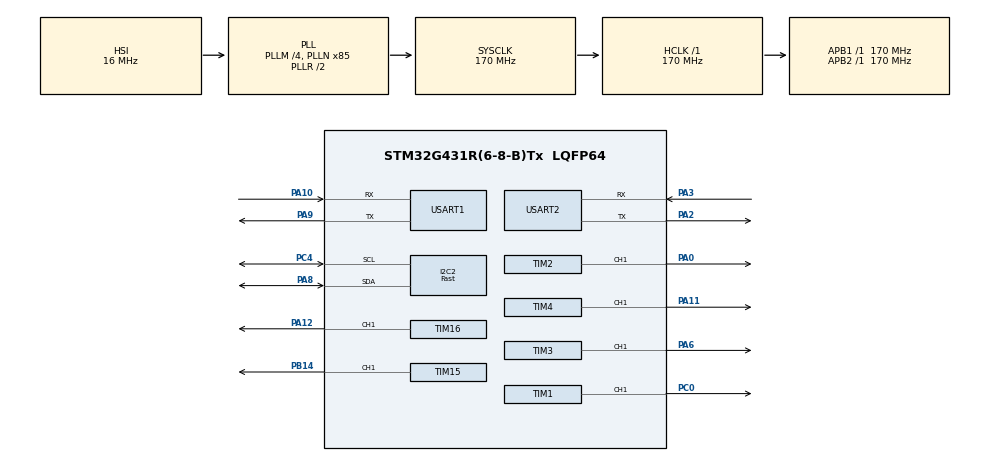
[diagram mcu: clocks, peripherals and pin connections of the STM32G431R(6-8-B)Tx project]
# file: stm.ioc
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FREERTOS.Tasks01=defaultTask,24,128,StartDefaultTask,Default,NULL,Dynamic,NULL,NULL
FREERTOS.configTOTAL_HEAP_SIZE=8192
I2C2.I2C_Speed_Mode=I2C_Fast
I2C2.Timing=0x40621236
Mcu.Family=STM32G4
Mcu.Name=STM32G431R(6-8-B)Tx
Mcu.Package=LQFP64
NUCLEO-G431RB.BUTTON=1
NUCLEO-G431RB.LD1=true
NUCLEO-G431RB.VCP=true
NVIC.EXTI15_10_IRQn=true\:5\:0\:false\:false\:true\:true\:false\:true\:true
NVIC.PriorityGroup=NVIC_PRIORITYGROUP_4
NVIC.TIM6_DAC_IRQn=true\:15\:0\:false\:false\:true\:false\:false\:true\:true
NVIC.TimeBase=TIM6_DAC_IRQn
NVIC.TimeBaseIP=TIM6
NVIC.USART1_IRQn=true\:5\:0\:true\:false\:true\:true\:true\:true\:true
PA0.Signal=S_TIM2_CH1
PA10.Mode=Asynchronous
PA10.Signal=USART1_RX
PA11.Signal=S_TIM4_CH1
PA12.Signal=S_TIM16_CH1
PA13.GPIO_Label=T_SWDIO
PA13.Signal=SYS_JTMS-SWDIO
PA14.GPIO_Label=T_SWCLK
PA14.Signal=SYS_JTCK-SWCLK
PA2.Mode=Asynchronous
PA2.Signal=USART2_TX
PA3.Mode=Asynchronous
PA3.Signal=USART2_RX
PA6.Signal=S_TIM3_CH1
PA8.Mode=I2C
PA8.Signal=I2C2_SDA
PA9.Mode=Asynchronous
PA9.Signal=USART1_TX
PB10.Signal=S_TIM2_CH3
PB11.Signal=S_TIM2_CH4
PB14.Signal=S_TIM15_CH1
PB3.GPIO_Label=T_SWO
PB3.Signal=SYS_JTDO-SWO
PC0.Signal=S_TIM1_CH1
PC14-OSC32_IN.GPIO_Label=RCC_OSC32_OUT
PC14-OSC32_IN.Signal=RCC_OSC32_IN
PC15-OSC32_OUT.GPIO_Label=RCC_OSC32_OUT
PC15-OSC32_OUT.Signal=RCC_OSC32_OUT
PC4.Mode=I2C
PC4.Signal=I2C2_SCL
PF0-OSC_IN.GPIO_Label=RCC_OSC_IN
PF0-OSC_IN.Signal=RCC_OSC_IN
PF1-OSC_OUT.GPIO_Label=RCC_OSC_OUT
PF1-OSC_OUT.Signal=RCC_OSC_OUT
ProjectManager.HeapSize=0x200
ProjectManager.StackSize=0x400
ProjectManager.TargetToolchain=STM32CubeIDE
RCC.ADC12Freq_Value=170000000
RCC.AHBFreq_Value=170000000
RCC.APB1Freq_Value=170000000
RCC.APB1TimFreq_Value=170000000
RCC.APB2Freq_Value=170000000
RCC.APB2TimFreq_Value=170000000
RCC.CortexFreq_Value=170000000
RCC.EXTERNAL_CLOCK_VALUE=12288000
RCC.HCLKFreq_Value=170000000
RCC.HSE_VALUE=24000000
RCC.HSI48_VALUE=48000000
RCC.HSI_VALUE=16000000
RCC.LSE_VALUE=32768
RCC.PLLM=RCC_PLLM_DIV4
RCC.PLLN=85
RCC.RTCClockSelection=RCC_RTCCLKSOURCE_LSE
RCC.SYSCLKFreq_VALUE=170000000
RCC.SYSCLKSource=RCC_SYSCLKSOURCE_PLLCLK
RCC.USBFreq_Value=170000000
RCC.VCOOutputFreq_Value=340000000
SH.S_TIM15_CH1.0=TIM15_CH1,PWM Generation1 CH1
SH.S_TIM16_CH1.0=TIM16_CH1,PWM Generation1 CH1
SH.S_TIM1_CH1.0=TIM1_CH1,PWM Generation1 CH1
SH.S_TIM2_CH1.0=TIM2_CH1,PWM Generation1 CH1
SH.S_TIM2_CH3.0=TIM2_CH3
SH.S_TIM2_CH4.0=TIM2_CH4
SH.S_TIM3_CH1.0=TIM3_CH1,PWM Generation1 CH1
SH.S_TIM4_CH1.0=TIM4_CH1,PWM Generation1 CH1
TIM1.Channel-PWM\ Generation1\ CH1=TIM_CHANNEL_1
TIM1.PeriodNoDither=19999
TIM1.Prescaler=169
TIM15.Channel-PWM\ Generation1\ CH1=TIM_CHANNEL_1
TIM15.PeriodNoDither=19999
TIM15.Prescaler=169
TIM16.Channel=TIM_CHANNEL_1
TIM16.PeriodNoDither=19999
TIM16.Prescaler=169
TIM2.Channel-PWM\ Generation1\ CH1=TIM_CHANNEL_1
TIM2.PeriodNoDither=19999
TIM2.Prescaler=169
TIM3.Channel-PWM\ Generation1\ CH1=TIM_CHANNEL_1
TIM3.PeriodNoDither=19999
TIM3.Prescaler=169
TIM4.Channel-PWM\ Generation1\ CH1=TIM_CHANNEL_1
TIM4.PeriodNoDither=19999
TIM4.Prescaler=169
USART1.VirtualMode-Asynchronous=VM_ASYNC
VP_FREERTOS_VS_CMSIS_V2.Mode=CMSIS_V2
VP_NUCLEO-G431RB_VS_BSP_COMMON.Mode=COMMON
VP_SYS_VS_DBSignals.Mode=DisableDeadBatterySignals
VP_SYS_VS_tim6.Mode=TIM6
VP_TIM16_VS_ClockSourceINT.Mode=Enable_Timer
board=NUCLEO-G431RB

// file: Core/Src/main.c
/* USER CODE BEGIN Header */
/**
  ******************************************************************************
  * @file           : main.c
  * @brief          : Main program body
  ******************************************************************************
  * @attention
  *
  * Copyright (c) 2026 STMicroelectronics.
  * All rights reserved.
  *
  * This software is licensed under terms that can be found in the LICENSE file
  * in the root directory of this software component.
  * If no LICENSE file comes with this software, it is provided AS-IS.
  *
  ******************************************************************************
  */
/* USER CODE END Header */
#include "main.h"
#include "cmsis_os.h"

/* USER CODE BEGIN Includes */
/* cmsis_os.h yukarida CubeMX tarafindan zaten dahil edildi */
/* USER CODE END Includes */

/* USER CODE BEGIN PD */
/* Servo PWM: timer 1 MHz tiktigi icin CCR degeri = mikrosaniye (us).
 * 50 Hz / 20 ms periyot. MG996R guvenli aralik ~1000-2000 us. */
#define SERVO_MIN_US     1000U   /*   0 derece (1000us) */
#define SERVO_MAX_US     2000U   /* 180 derece (2000us) */

/* --- Aci ayarlari (DERECE cinsinden, soft-coded). Serbestce degistir. --- */
#define JAW_REST_DEG      60U    /* cene  REST: yari acik baslangic (max'lamaz) */
#define JAW_SQUEEZE_DEG   140U    /* cene  SQUEEZE: kapali konum */
#define WRIST_REST_DEG     60U    /* bilek REST    konumu (0 derece)  */
#define WRIST_SQUEEZE_DEG 20U    /* bilek SQUEEZE konumu (max 90 derece) */
#define ELBOW_REST_DEG     60U    /* dirsek REST    konumu (CH3=biceps) */
#define ELBOW_SQUEEZE_DEG 0U    /* dirsek SQUEEZE konumu (max 90 derece) */

/* --- Yumusak hareket (slew-rate limiter) --- */
#define SERVO_STEP_US     5U    /* her adimda kac us ilerlesin (kucuk = daha yumusak) */
#define SERVO_STEP_MS     15U    /* adimlar arasi gecikme, ms     (kucuk = daha hizli) */
/* Ornek: 90 derece = 500us. 500/10us = 50 adim x 15ms ~ 0.75 sn'de tam hareket. */
/* USER CODE END PD */

COM_InitTypeDef BspCOMInit;
I2C_HandleTypeDef hi2c2;

TIM_HandleTypeDef htim1;
TIM_HandleTypeDef htim2;
TIM_HandleTypeDef htim3;
TIM_HandleTypeDef htim4;
TIM_HandleTypeDef htim15;
TIM_HandleTypeDef htim16;

UART_HandleTypeDef huart1;

/* Definitions for defaultTask */
osThreadId_t defaultTaskHandle;
const osThreadAttr_t defaultTask_attributes = {
  .name = "defaultTask",
  .priority = (osPriority_t) osPriorityNormal,
  .stack_size = 128 * 4
};
/* USER CODE BEGIN PV */
/* ESP32 prediction packet: [0xAA][ch1][ch2][0x55]
 * ch1 -> cene (jaw),  ch2 -> bilek (wrist). Her biri 0=REST, 1=SQUEEZE. */
static uint8_t rx_byte;
volatile uint8_t  esp_pred_ch1 = 0;       /* CH1: 0=REST (cene kapa), 1=SQUEEZE (cene ac)  */
volatile uint8_t  esp_pred_ch2 = 0;       /* CH2: 0=REST (bilek notr), 1=SQUEEZE (bilek don) */
volatile uint8_t  esp_pred_ch3 = 0;       /* CH3: 0=REST (dirsek notr), 1=SQUEEZE (dirsek don) */

/* RTOS kuyruklari: ISR bunlara yazar, gorevler bunlardan okur. */
osMessageQueueId_t jawQueueHandle;    /* CH1 -> cene   */
osMessageQueueId_t wristQueueHandle;  /* CH2 -> bilek  */
osMessageQueueId_t elbowQueueHandle;  /* CH3 -> dirsek */

/* LED gostergesi icin paylasilan durum: gorevler yazar, defaultTask okur.
 * Tek dahili yesil LED (PA5) kanallari yanis desenine gore ayirir. */
volatile uint8_t ch1_active = 0;   /* CH1 cene   SQUEEZE mi */
volatile uint8_t ch2_active = 0;   /* CH2 bilek  SQUEEZE mi */
volatile uint8_t ch3_active = 0;   /* CH3 dirsek SQUEEZE mi */

/* RTOS gorev handle'lari ve oznitelikleri */
osThreadId_t jawTaskHandle;
osThreadId_t wristTaskHandle;
osThreadId_t elbowTaskHandle;
const osThreadAttr_t jawTask_attributes = {
  .name = "JawTask",   .priority = (osPriority_t) osPriorityNormal, .stack_size = 128 * 4,
};
const osThreadAttr_t wristTask_attributes = {
  .name = "WristTask", .priority = (osPriority_t) osPriorityNormal, .stack_size = 128 * 4,
};
const osThreadAttr_t elbowTask_attributes = {
  .name = "ElbowTask", .priority = (osPriority_t) osPriorityNormal, .stack_size = 128 * 4,
};

/* --- UART teshis sayaclari (Live Expressions ile izle) --- */
volatile uint32_t rx_byte_count  = 0;     /* gelen HER byte (cop dahil) */
volatile uint32_t rx_frame_count = 0;     /* gecerli [AA..55] paket sayisi */
volatile uint8_t  last_rx_byte   = 0;     /* en son gelen ham byte */

typedef enum { WAIT_START, WAIT_DATA1, WAIT_DATA2, WAIT_DATA3, WAIT_END } RxState_t;
static RxState_t rx_state = WAIT_START;

/* Echo packet back to ESP32: [0xBB][ch1][ch2][ch3][0x66] */
static uint8_t tx_packet[5] = {0xBB, 0x00, 0x00, 0x00, 0x66};
/* USER CODE END PV */

void SystemClock_Config(void);
static void MX_GPIO_Init(void);
static void MX_TIM1_Init(void);
static void MX_TIM2_Init(void);
static void MX_TIM3_Init(void);
static void MX_TIM4_Init(void);
static void MX_TIM15_Init(void);
static void MX_TIM16_Init(void);
static void MX_I2C2_Init(void);
static void MX_USART1_UART_Init(void);
void StartDefaultTask(void *argument);

/* USER CODE BEGIN PFP */
void JawTask(void *argument);    /* govde USER CODE BEGIN 4'te */
void WristTask(void *argument);
void ElbowTask(void *argument);
/* USER CODE END PFP */

/* USER CODE BEGIN 0 */
/* PA0 = TIM2_CH1 -> cene (jaw),  PA6 = TIM3_CH1 -> bilek (wrist) */
static inline void Jaw_Set(uint16_t us)   { __HAL_TIM_SET_COMPARE(&htim2, TIM_CHANNEL_1, us); }
static inline void Wrist_Set(uint16_t us) { __HAL_TIM_SET_COMPARE(&htim3, TIM_CHANNEL_1, us); }
/* PA11 = TIM4_CH1 -> dirsek (elbow) */
static inline void Elbow_Set(uint16_t us) { __HAL_TIM_SET_COMPARE(&htim4, TIM_CHANNEL_1, us); }

/* Dereceyi (0..180) servo darbe genisligine (us) cevirir */
static inline uint16_t Deg_To_Us(uint16_t deg)
{ return (uint16_t)(SERVO_MIN_US + (uint32_t)deg * (SERVO_MAX_US - SERVO_MIN_US) / 180U); }
/* USER CODE END 0 */

int main(void)
{

  /* MCU Configuration--------------------------------------------------------*/

  /* Reset of all peripherals, Initializes the Flash interface and the Systick. */
  HAL_Init();

  /* Configure the system clock */
  SystemClock_Config();

  /* Initialize all configured peripherals */
  MX_GPIO_Init();
  MX_TIM1_Init();
  MX_TIM2_Init();
  MX_TIM3_Init();
  MX_TIM4_Init();
  MX_TIM15_Init();
  MX_TIM16_Init();
  MX_I2C2_Init();
  MX_USART1_UART_Init();
  /* USER CODE BEGIN 2 */
  /* Start receiving 1 byte via interrupt from ESP32 on USART1 */
  HAL_UART_Receive_IT(&huart1, &rx_byte, 1);

  /* Servo PWM kanallarini baslat */
  HAL_TIM_PWM_Start(&htim2, TIM_CHANNEL_1);   /* PA0  - cene   */
  HAL_TIM_PWM_Start(&htim3, TIM_CHANNEL_1);   /* PA6  - bilek  */
  HAL_TIM_PWM_Start(&htim4, TIM_CHANNEL_1);   /* PA11 - dirsek */
  Jaw_Set(Deg_To_Us(JAW_REST_DEG));        /* baslangic: cene   REST */
  Wrist_Set(Deg_To_Us(WRIST_REST_DEG));    /* baslangic: bilek  REST */
  Elbow_Set(Deg_To_Us(ELBOW_REST_DEG));    /* baslangic: dirsek REST */
  /* USER CODE END 2 */

  /* Init scheduler */
  osKernelInitialize();

  /* USER CODE BEGIN RTOS_QUEUES */
  jawQueueHandle   = osMessageQueueNew(8, sizeof(uint8_t), NULL);  /* CH1 -> cene   */
  wristQueueHandle = osMessageQueueNew(8, sizeof(uint8_t), NULL);  /* CH2 -> bilek  */
  elbowQueueHandle = osMessageQueueNew(8, sizeof(uint8_t), NULL);  /* CH3 -> dirsek */
  /* USER CODE END RTOS_QUEUES */

  /* Create the thread(s) */
  /* creation of defaultTask */
  defaultTaskHandle = osThreadNew(StartDefaultTask, NULL, &defaultTask_attributes);

  /* USER CODE BEGIN RTOS_THREADS */
  jawTaskHandle   = osThreadNew(JawTask,   NULL, &jawTask_attributes);
  wristTaskHandle = osThreadNew(WristTask, NULL, &wristTask_attributes);
  elbowTaskHandle = osThreadNew(ElbowTask, NULL, &elbowTask_attributes);
  /* USER CODE END RTOS_THREADS */

  /* Initialize leds */
  BSP_LED_Init(LED_GREEN);

  /* Initialize USER push-button, will be used to trigger an interrupt each time it's pressed.*/
  BSP_PB_Init(BUTTON_USER, BUTTON_MODE_EXTI);

  /* Initialize COM1 port (115200, 8 bits (7-bit data + 1 stop bit), no parity */
  BspCOMInit.BaudRate   = 115200;
  BspCOMInit.WordLength = COM_WORDLENGTH_8B;
  BspCOMInit.StopBits   = COM_STOPBITS_1;
  BspCOMInit.Parity     = COM_PARITY_NONE;
  BspCOMInit.HwFlowCtl  = COM_HWCONTROL_NONE;
  if (BSP_COM_Init(COM1, &BspCOMInit) != BSP_ERROR_NONE)
  {
    Error_Handler();
  }

  /* Start scheduler */
  osKernelStart();

  /* We should never get here as control is now taken by the scheduler */

  /* Infinite loop */
  /* USER CODE BEGIN WHILE */
  while (1)
  {
    /* FreeRTOS ile bu dongu erisilmez: osKernelStart() geri donmez.
     * Tum is JawTask / WristTask gorevlerinde ve UART ISR'da yapilir. */
    /* USER CODE END WHILE */

  }
}

void SystemClock_Config(void)
{
  RCC_OscInitTypeDef RCC_OscInitStruct = {0};
  RCC_ClkInitTypeDef RCC_ClkInitStruct = {0};

  /** Configure the main internal regulator output voltage
  */
  HAL_PWREx_ControlVoltageScaling(PWR_REGULATOR_VOLTAGE_SCALE1_BOOST);

  /** Initializes the RCC Oscillators according to the specified parameters
  * in the RCC_OscInitTypeDef structure.
  */
  RCC_OscInitStruct.OscillatorType = RCC_OSCILLATORTYPE_HSI;
  RCC_OscInitStruct.HSIState = RCC_HSI_ON;
  RCC_OscInitStruct.HSICalibrationValue = RCC_HSICALIBRATION_DEFAULT;
  RCC_OscInitStruct.PLL.PLLState = RCC_PLL_ON;
  RCC_OscInitStruct.PLL.PLLSource = RCC_PLLSOURCE_HSI;
  RCC_OscInitStruct.PLL.PLLM = RCC_PLLM_DIV4;
  RCC_OscInitStruct.PLL.PLLN = 85;
  RCC_OscInitStruct.PLL.PLLP = RCC_PLLP_DIV2;
  RCC_OscInitStruct.PLL.PLLQ = RCC_PLLQ_DIV2;
  RCC_OscInitStruct.PLL.PLLR = RCC_PLLR_DIV2;
  if (HAL_RCC_OscConfig(&RCC_OscInitStruct) != HAL_OK)
  {
    Error_Handler();
  }

  /** Initializes the CPU, AHB and APB buses clocks
  */
  RCC_ClkInitStruct.ClockType = RCC_CLOCKTYPE_HCLK|RCC_CLOCKTYPE_SYSCLK
                              |RCC_CLOCKTYPE_PCLK1|RCC_CLOCKTYPE_PCLK2;
  RCC_ClkInitStruct.SYSCLKSource = RCC_SYSCLKSOURCE_PLLCLK;
  RCC_ClkInitStruct.AHBCLKDivider = RCC_SYSCLK_DIV1;
  RCC_ClkInitStruct.APB1CLKDivider = RCC_HCLK_DIV1;
  RCC_ClkInitStruct.APB2CLKDivider = RCC_HCLK_DIV1;

  if (HAL_RCC_ClockConfig(&RCC_ClkInitStruct, FLASH_LATENCY_4) != HAL_OK)
  {
    Error_Handler();
  }
}

static void MX_I2C2_Init(void)
{

  hi2c2.Instance = I2C2;
  hi2c2.Init.Timing = 0x40621236;
  hi2c2.Init.OwnAddress1 = 0;
  hi2c2.Init.AddressingMode = I2C_ADDRESSINGMODE_7BIT;
  hi2c2.Init.DualAddressMode = I2C_DUALADDRESS_DISABLE;
  hi2c2.Init.OwnAddress2 = 0;
  hi2c2.Init.OwnAddress2Masks = I2C_OA2_NOMASK;
  hi2c2.Init.GeneralCallMode = I2C_GENERALCALL_DISABLE;
  hi2c2.Init.NoStretchMode = I2C_NOSTRETCH_DISABLE;
  if (HAL_I2C_Init(&hi2c2) != HAL_OK)
  {
    Error_Handler();
  }

  /** Configure Analogue filter
  */
  if (HAL_I2CEx_ConfigAnalogFilter(&hi2c2, I2C_ANALOGFILTER_ENABLE) != HAL_OK)
  {
    Error_Handler();
  }

  /** Configure Digital filter
  */
  if (HAL_I2CEx_ConfigDigitalFilter(&hi2c2, 0) != HAL_OK)
  {
    Error_Handler();
  }

}

static void MX_TIM1_Init(void)
{

  TIM_MasterConfigTypeDef sMasterConfig = {0};
  TIM_OC_InitTypeDef sConfigOC = {0};
  TIM_BreakDeadTimeConfigTypeDef sBreakDeadTimeConfig = {0};

  htim1.Instance = TIM1;
  htim1.Init.Prescaler = 169;
  htim1.Init.CounterMode = TIM_COUNTERMODE_UP;
  htim1.Init.Period = 19999;
  htim1.Init.ClockDivision = TIM_CLOCKDIVISION_DIV1;
  htim1.Init.RepetitionCounter = 0;
  htim1.Init.AutoReloadPreload = TIM_AUTORELOAD_PRELOAD_DISABLE;
  if (HAL_TIM_PWM_Init(&htim1) != HAL_OK)
  {
    Error_Handler();
  }
  sMasterConfig.MasterOutputTrigger = TIM_TRGO_RESET;
  sMasterConfig.MasterOutputTrigger2 = TIM_TRGO2_RESET;
  sMasterConfig.MasterSlaveMode = TIM_MASTERSLAVEMODE_DISABLE;
  if (HAL_TIMEx_MasterConfigSynchronization(&htim1, &sMasterConfig) != HAL_OK)
  {
    Error_Handler();
  }
  sConfigOC.OCMode = TIM_OCMODE_PWM1;
  sConfigOC.Pulse = 0;
  sConfigOC.OCPolarity = TIM_OCPOLARITY_HIGH;
  sConfigOC.OCNPolarity = TIM_OCNPOLARITY_HIGH;
  sConfigOC.OCFastMode = TIM_OCFAST_DISABLE;
  sConfigOC.OCIdleState = TIM_OCIDLESTATE_RESET;
  sConfigOC.OCNIdleState = TIM_OCNIDLESTATE_RESET;
  if (HAL_TIM_PWM_ConfigChannel(&htim1, &sConfigOC, TIM_CHANNEL_1) != HAL_OK)
  {
    Error_Handler();
  }
  sBreakDeadTimeConfig.OffStateRunMode = TIM_OSSR_DISABLE;
  sBreakDeadTimeConfig.OffStateIDLEMode = TIM_OSSI_DISABLE;
  sBreakDeadTimeConfig.LockLevel = TIM_LOCKLEVEL_OFF;
  sBreakDeadTimeConfig.DeadTime = 0;
  sBreakDeadTimeConfig.BreakState = TIM_BREAK_DISABLE;
  sBreakDeadTimeConfig.BreakPolarity = TIM_BREAKPOLARITY_HIGH;
  sBreakDeadTimeConfig.BreakFilter = 0;
  sBreakDeadTimeConfig.BreakAFMode = TIM_BREAK_AFMODE_INPUT;
  sBreakDeadTimeConfig.Break2State = TIM_BREAK2_DISABLE;
  sBreakDeadTimeConfig.Break2Polarity = TIM_BREAK2POLARITY_HIGH;
  sBreakDeadTimeConfig.Break2Filter = 0;
  sBreakDeadTimeConfig.Break2AFMode = TIM_BREAK_AFMODE_INPUT;
  sBreakDeadTimeConfig.AutomaticOutput = TIM_AUTOMATICOUTPUT_DISABLE;
  if (HAL_TIMEx_ConfigBreakDeadTime(&htim1, &sBreakDeadTimeConfig) != HAL_OK)
  {
    Error_Handler();
  }
  HAL_TIM_MspPostInit(&htim1);

}

static void MX_TIM2_Init(void)
{

  TIM_MasterConfigTypeDef sMasterConfig = {0};
  TIM_OC_InitTypeDef sConfigOC = {0};

  htim2.Instance = TIM2;
  htim2.Init.Prescaler = 169;
  htim2.Init.CounterMode = TIM_COUNTERMODE_UP;
  htim2.Init.Period = 19999;
  htim2.Init.ClockDivision = TIM_CLOCKDIVISION_DIV1;
  htim2.Init.AutoReloadPreload = TIM_AUTORELOAD_PRELOAD_DISABLE;
  if (HAL_TIM_PWM_Init(&htim2) != HAL_OK)
  {
    Error_Handler();
  }
  sMasterConfig.MasterOutputTrigger = TIM_TRGO_RESET;
  sMasterConfig.MasterSlaveMode = TIM_MASTERSLAVEMODE_DISABLE;
  if (HAL_TIMEx_MasterConfigSynchronization(&htim2, &sMasterConfig) != HAL_OK)
  {
    Error_Handler();
  }
  sConfigOC.OCMode = TIM_OCMODE_PWM1;
  sConfigOC.Pulse = 0;
  sConfigOC.OCPolarity = TIM_OCPOLARITY_HIGH;
  sConfigOC.OCFastMode = TIM_OCFAST_DISABLE;
  if (HAL_TIM_PWM_ConfigChannel(&htim2, &sConfigOC, TIM_CHANNEL_1) != HAL_OK)
  {
    Error_Handler();
  }
  HAL_TIM_MspPostInit(&htim2);

}

static void MX_TIM3_Init(void)
{

  TIM_MasterConfigTypeDef sMasterConfig = {0};
  TIM_OC_InitTypeDef sConfigOC = {0};

  htim3.Instance = TIM3;
  htim3.Init.Prescaler = 169;
  htim3.Init.CounterMode = TIM_COUNTERMODE_UP;
  htim3.Init.Period = 19999;
  htim3.Init.ClockDivision = TIM_CLOCKDIVISION_DIV1;
  htim3.Init.AutoReloadPreload = TIM_AUTORELOAD_PRELOAD_DISABLE;
  if (HAL_TIM_PWM_Init(&htim3) != HAL_OK)
  {
    Error_Handler();
  }
  sMasterConfig.MasterOutputTrigger = TIM_TRGO_RESET;
  sMasterConfig.MasterSlaveMode = TIM_MASTERSLAVEMODE_DISABLE;
  if (HAL_TIMEx_MasterConfigSynchronization(&htim3, &sMasterConfig) != HAL_OK)
  {
    Error_Handler();
  }
  sConfigOC.OCMode = TIM_OCMODE_PWM1;
  sConfigOC.Pulse = 0;
  sConfigOC.OCPolarity = TIM_OCPOLARITY_HIGH;
  sConfigOC.OCFastMode = TIM_OCFAST_DISABLE;
  if (HAL_TIM_PWM_ConfigChannel(&htim3, &sConfigOC, TIM_CHANNEL_1) != HAL_OK)
  {
    Error_Handler();
  }
  HAL_TIM_MspPostInit(&htim3);

}

static void MX_TIM4_Init(void)
{

  TIM_MasterConfigTypeDef sMasterConfig = {0};
  TIM_OC_InitTypeDef sConfigOC = {0};

  htim4.Instance = TIM4;
  htim4.Init.Prescaler = 169;
  htim4.Init.CounterMode = TIM_COUNTERMODE_UP;
  htim4.Init.Period = 19999;
  htim4.Init.ClockDivision = TIM_CLOCKDIVISION_DIV1;
  htim4.Init.AutoReloadPreload = TIM_AUTORELOAD_PRELOAD_DISABLE;
  if (HAL_TIM_PWM_Init(&htim4) != HAL_OK)
  {
    Error_Handler();
  }
  sMasterConfig.MasterOutputTrigger = TIM_TRGO_RESET;
  sMasterConfig.MasterSlaveMode = TIM_MASTERSLAVEMODE_DISABLE;
  if (HAL_TIMEx_MasterConfigSynchronization(&htim4, &sMasterConfig) != HAL_OK)
  {
    Error_Handler();
  }
  sConfigOC.OCMode = TIM_OCMODE_PWM1;
  sConfigOC.Pulse = 0;
  sConfigOC.OCPolarity = TIM_OCPOLARITY_HIGH;
  sConfigOC.OCFastMode = TIM_OCFAST_DISABLE;
  if (HAL_TIM_PWM_ConfigChannel(&htim4, &sConfigOC, TIM_CHANNEL_1) != HAL_OK)
  {
    Error_Handler();
  }
  HAL_TIM_MspPostInit(&htim4);

}

static void MX_TIM15_Init(void)
{

  TIM_MasterConfigTypeDef sMasterConfig = {0};
  TIM_OC_InitTypeDef sConfigOC = {0};
  TIM_BreakDeadTimeConfigTypeDef sBreakDeadTimeConfig = {0};

  htim15.Instance = TIM15;
  htim15.Init.Prescaler = 169;
  htim15.Init.CounterMode = TIM_COUNTERMODE_UP;
  htim15.Init.Period = 19999;
  htim15.Init.ClockDivision = TIM_CLOCKDIVISION_DIV1;
  htim15.Init.RepetitionCounter = 0;
  htim15.Init.AutoReloadPreload = TIM_AUTORELOAD_PRELOAD_DISABLE;
  if (HAL_TIM_PWM_Init(&htim15) != HAL_OK)
  {
    Error_Handler();
  }
  sMasterConfig.MasterOutputTrigger = TIM_TRGO_RESET;
  sMasterConfig.MasterSlaveMode = TIM_MASTERSLAVEMODE_DISABLE;
  if (HAL_TIMEx_MasterConfigSynchronization(&htim15, &sMasterConfig) != HAL_OK)
  {
    Error_Handler();
  }
  sConfigOC.OCMode = TIM_OCMODE_PWM1;
  sConfigOC.Pulse = 0;
  sConfigOC.OCPolarity = TIM_OCPOLARITY_HIGH;
  sConfigOC.OCNPolarity = TIM_OCNPOLARITY_HIGH;
  sConfigOC.OCFastMode = TIM_OCFAST_DISABLE;
  sConfigOC.OCIdleState = TIM_OCIDLESTATE_RESET;
  sConfigOC.OCNIdleState = TIM_OCNIDLESTATE_RESET;
  if (HAL_TIM_PWM_ConfigChannel(&htim15, &sConfigOC, TIM_CHANNEL_1) != HAL_OK)
  {
    Error_Handler();
  }
  sBreakDeadTimeConfig.OffStateRunMode = TIM_OSSR_DISABLE;
  sBreakDeadTimeConfig.OffStateIDLEMode = TIM_OSSI_DISABLE;
  sBreakDeadTimeConfig.LockLevel = TIM_LOCKLEVEL_OFF;
  sBreakDeadTimeConfig.DeadTime = 0;
  sBreakDeadTimeConfig.BreakState = TIM_BREAK_DISABLE;
  sBreakDeadTimeConfig.BreakPolarity = TIM_BREAKPOLARITY_HIGH;
  sBreakDeadTimeConfig.BreakFilter = 0;
  sBreakDeadTimeConfig.AutomaticOutput = TIM_AUTOMATICOUTPUT_DISABLE;
  if (HAL_TIMEx_ConfigBreakDeadTime(&htim15, &sBreakDeadTimeConfig) != HAL_OK)
  {
    Error_Handler();
  }
  HAL_TIM_MspPostInit(&htim15);

}

static void MX_TIM16_Init(void)
{

  TIM_OC_InitTypeDef sConfigOC = {0};
  TIM_BreakDeadTimeConfigTypeDef sBreakDeadTimeConfig = {0};

  htim16.Instance = TIM16;
  htim16.Init.Prescaler = 169;
  htim16.Init.CounterMode = TIM_COUNTERMODE_UP;
  htim16.Init.Period = 19999;
  htim16.Init.ClockDivision = TIM_CLOCKDIVISION_DIV1;
  htim16.Init.RepetitionCounter = 0;
  htim16.Init.AutoReloadPreload = TIM_AUTORELOAD_PRELOAD_DISABLE;
  if (HAL_TIM_Base_Init(&htim16) != HAL_OK)
  {
    Error_Handler();
  }
  if (HAL_TIM_PWM_Init(&htim16) != HAL_OK)
  {
    Error_Handler();
  }
  sConfigOC.OCMode = TIM_OCMODE_PWM1;
  sConfigOC.Pulse = 0;
  sConfigOC.OCPolarity = TIM_OCPOLARITY_HIGH;
  sConfigOC.OCNPolarity = TIM_OCNPOLARITY_HIGH;
  sConfigOC.OCFastMode = TIM_OCFAST_DISABLE;
  sConfigOC.OCIdleState = TIM_OCIDLESTATE_RESET;
  sConfigOC.OCNIdleState = TIM_OCNIDLESTATE_RESET;
  if (HAL_TIM_PWM_ConfigChannel(&htim16, &sConfigOC, TIM_CHANNEL_1) != HAL_OK)
  {
    Error_Handler();
  }
  sBreakDeadTimeConfig.OffStateRunMode = TIM_OSSR_DISABLE;
  sBreakDeadTimeConfig.OffStateIDLEMode = TIM_OSSI_DISABLE;
  sBreakDeadTimeConfig.LockLevel = TIM_LOCKLEVEL_OFF;
  sBreakDeadTimeConfig.DeadTime = 0;
  sBreakDeadTimeConfig.BreakState = TIM_BREAK_DISABLE;
  sBreakDeadTimeConfig.BreakPolarity = TIM_BREAKPOLARITY_HIGH;
  sBreakDeadTimeConfig.BreakFilter = 0;
  sBreakDeadTimeConfig.AutomaticOutput = TIM_AUTOMATICOUTPUT_DISABLE;
  if (HAL_TIMEx_ConfigBreakDeadTime(&htim16, &sBreakDeadTimeConfig) != HAL_OK)
  {
    Error_Handler();
  }
  HAL_TIM_MspPostInit(&htim16);

}

static void MX_USART1_UART_Init(void)
{

  huart1.Instance = USART1;
  huart1.Init.BaudRate = 115200;
  huart1.Init.WordLength = UART_WORDLENGTH_8B;
  huart1.Init.StopBits = UART_STOPBITS_1;
  huart1.Init.Parity = UART_PARITY_NONE;
  huart1.Init.Mode = UART_MODE_TX_RX;
  huart1.Init.HwFlowCtl = UART_HWCONTROL_NONE;
  huart1.Init.OverSampling = UART_OVERSAMPLING_16;
  huart1.Init.OneBitSampling = UART_ONE_BIT_SAMPLE_DISABLE;
  huart1.Init.ClockPrescaler = UART_PRESCALER_DIV1;
  huart1.AdvancedInit.AdvFeatureInit = UART_ADVFEATURE_NO_INIT;
  if (HAL_UART_Init(&huart1) != HAL_OK)
  {
    Error_Handler();
  }
  if (HAL_UARTEx_SetTxFifoThreshold(&huart1, UART_TXFIFO_THRESHOLD_1_8) != HAL_OK)
  {
    Error_Handler();
  }
  if (HAL_UARTEx_SetRxFifoThreshold(&huart1, UART_RXFIFO_THRESHOLD_1_8) != HAL_OK)
  {
    Error_Handler();
  }
  if (HAL_UARTEx_DisableFifoMode(&huart1) != HAL_OK)
  {
    Error_Handler();
  }

}

static void MX_GPIO_Init(void)
{

  /* GPIO Ports Clock Enable */
  __HAL_RCC_GPIOC_CLK_ENABLE();
  __HAL_RCC_GPIOF_CLK_ENABLE();
  __HAL_RCC_GPIOA_CLK_ENABLE();
  __HAL_RCC_GPIOB_CLK_ENABLE();

}

/* USER CODE BEGIN 4 */
/**
 * UART RX complete callback. Parses [0xAA][payload][0x55] frames from ESP32.
 * Re-arms the 1-byte interrupt at the end of each call.
 */
void HAL_UART_RxCpltCallback(UART_HandleTypeDef *huart)
{
  if (huart->Instance == USART1)
  {
    rx_byte_count++;            /* herhangi bir byte geldi mi? */
    last_rx_byte = rx_byte;     /* ham degeri gor */

    switch (rx_state)
    {
      case WAIT_START:
        if (rx_byte == 0xAA) rx_state = WAIT_DATA1;
        break;
      case WAIT_DATA1:
        esp_pred_ch1 = rx_byte;
        rx_state = WAIT_DATA2;
        break;
      case WAIT_DATA2:
        esp_pred_ch2 = rx_byte;
        rx_state = WAIT_DATA3;
        break;
      case WAIT_DATA3:
        esp_pred_ch3 = rx_byte;
        rx_state = WAIT_END;
        break;
      case WAIT_END:
        if (rx_byte == 0x55)
        {
          rx_frame_count++;
          uint8_t c1 = esp_pred_ch1;   /* CH1 -> cene   */
          uint8_t c2 = esp_pred_ch2;   /* CH2 -> bilek  */
          uint8_t c3 = esp_pred_ch3;   /* CH3 -> dirsek */

          /* Echo back to ESP32: [0xBB][ch1][ch2][ch3][0x66] (feedback dogrulama) */
          tx_packet[1] = c1;
          tx_packet[2] = c2;
          tx_packet[3] = c3;
          HAL_UART_Transmit_IT(&huart1, tx_packet, 5);

          /* Her kanali kendi gorevine ilet (ISR-safe: timeout 0).
           * Handle henuz olusmadiysa (scheduler baslamadan) atla. */
          if (jawQueueHandle   != NULL) osMessageQueuePut(jawQueueHandle,   &c1, 0U, 0U);
          if (wristQueueHandle != NULL) osMessageQueuePut(wristQueueHandle, &c2, 0U, 0U);
          if (elbowQueueHandle != NULL) osMessageQueuePut(elbowQueueHandle, &c3, 0U, 0U);
        }
        rx_state = WAIT_START;
        break;
    }
    HAL_UART_Receive_IT(&huart1, &rx_byte, 1);
  }
}

/* ---- RTOS gorevleri (handle/queue olusturma main RTOS bloklarinda) ----
 * Her gorev kuyrugundan komut alir ve servoyu HEDEF aciya adim adim
 * (yumusak) goturur:
 *   - hareket halindeyken kuyrugu kisa timeout (SERVO_STEP_MS) ile yoklar,
 *     her adimda SERVO_STEP_US kadar ilerler (slew-rate limiter),
 *   - hedefe ulasinca sonsuz bekler -> CPU bosa harcanmaz,
 *   - hareket ederken yeni komut gelirse hedef aninda guncellenir. */
static void Servo_Run(osMessageQueueId_t q, TIM_HandleTypeDef *htim,
                      uint16_t rest_us, uint16_t squeeze_us,
                      volatile uint8_t *active_flag)
{
  uint16_t cur    = rest_us;   /* mevcut konum (us) */
  uint16_t target = rest_us;   /* hedef  konum (us) */
  uint8_t  cmd;

  __HAL_TIM_SET_COMPARE(htim, TIM_CHANNEL_1, cur);

  for (;;)
  {
    uint32_t wait = (cur == target) ? osWaitForever : (uint32_t)SERVO_STEP_MS;
    if (osMessageQueueGet(q, &cmd, NULL, wait) == osOK)
    {
      target = cmd ? squeeze_us : rest_us;
      *active_flag = cmd;        /* LED gostergesi defaultTask'ta */
    }

    /* Hedefe dogru tek adim; kalan mesafe adimdan kucukse tam otur */
    if (cur < target)
      cur += (uint16_t)((target - cur > SERVO_STEP_US) ? SERVO_STEP_US : (target - cur));
    else if (cur > target)
      cur -= (uint16_t)((cur - target > SERVO_STEP_US) ? SERVO_STEP_US : (cur - target));

    __HAL_TIM_SET_COMPARE(htim, TIM_CHANNEL_1, cur);
  }
}

void JawTask(void *argument)
{
  (void)argument;
  Servo_Run(jawQueueHandle, &htim2,
            Deg_To_Us(JAW_REST_DEG), Deg_To_Us(JAW_SQUEEZE_DEG), &ch1_active);
}

void WristTask(void *argument)
{
  (void)argument;
  Servo_Run(wristQueueHandle, &htim3,
            Deg_To_Us(WRIST_REST_DEG), Deg_To_Us(WRIST_SQUEEZE_DEG), &ch2_active);
}

void ElbowTask(void *argument)
{
  (void)argument;
  Servo_Run(elbowQueueHandle, &htim4,
            Deg_To_Us(ELBOW_REST_DEG), Deg_To_Us(ELBOW_SQUEEZE_DEG), &ch3_active);
}

/**
 * UART error callback - re-arm RX so a single glitch doesn't kill the link.
 */
void HAL_UART_ErrorCallback(UART_HandleTypeDef *huart)
{
  if (huart->Instance == USART1)
  {
    rx_state = WAIT_START;
    HAL_UART_Receive_IT(&huart1, &rx_byte, 1);
  }
}
/* USER CODE END 4 */

void StartDefaultTask(void *argument)
{
  /* USER CODE BEGIN 5 */
  /* LED yoneticisi: tek dahili yesil LED'i kanal durumuna gore surer.
   *   ikisi REST   -> kapali
   *   sadece CH1   -> sabit yanik
   *   sadece CH2   -> yavas blink (~400 ms)
   *   ikisi birden -> hizli blink (~100 ms) */
  for(;;)
  {
    uint8_t a = ch1_active;   /* cene  */
    uint8_t b = ch2_active;   /* bilek */

    if (!a && !b)             /* bos */
    {
      BSP_LED_Off(LED_GREEN);
      osDelay(50);
    }
    else if (a && !b)         /* sadece CH1: sabit */
    {
      BSP_LED_On(LED_GREEN);
      osDelay(50);
    }
    else if (!a && b)         /* sadece CH2: yavas blink */
    {
      BSP_LED_Toggle(LED_GREEN);
      osDelay(400);
    }
    else                      /* ikisi birden: hizli blink */
    {
      BSP_LED_Toggle(LED_GREEN);
      osDelay(100);
    }
  }
  /* USER CODE END 5 */
}

void HAL_TIM_PeriodElapsedCallback(TIM_HandleTypeDef *htim)
{
  if (htim->Instance == TIM6)
  {
    HAL_IncTick();
  }
}

void Error_Handler(void)
{
  __disable_irq();
  while (1)
  {
  }
}
